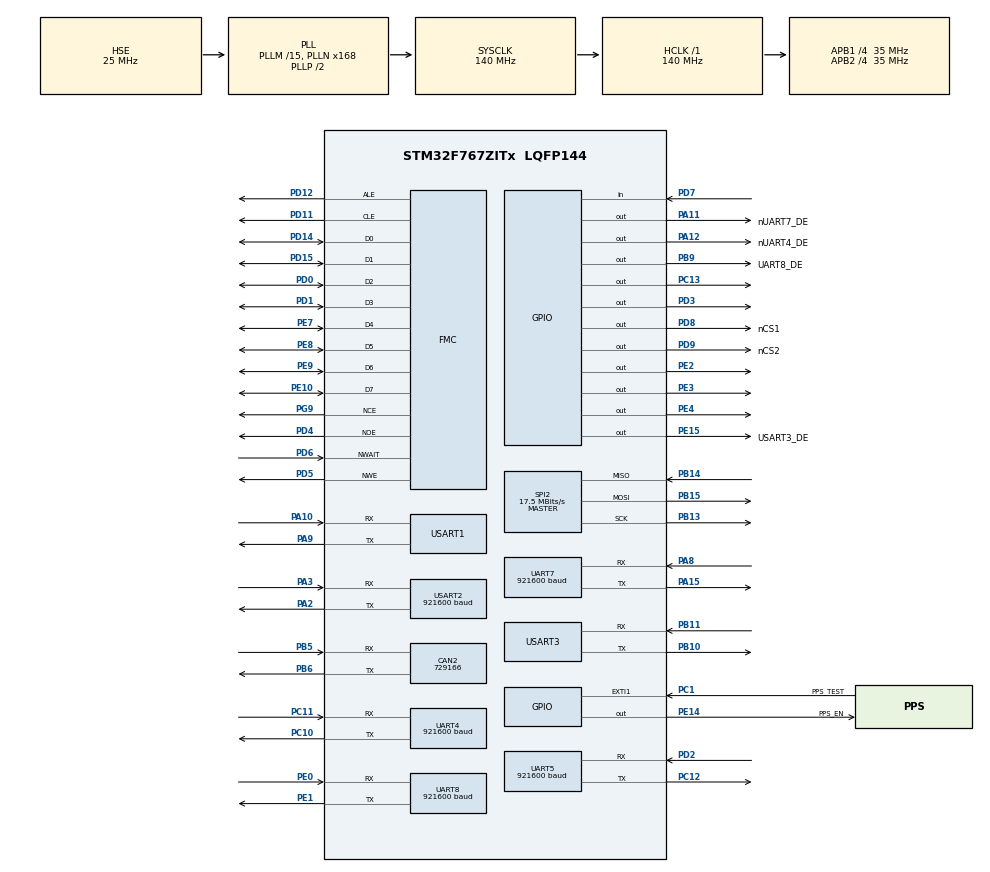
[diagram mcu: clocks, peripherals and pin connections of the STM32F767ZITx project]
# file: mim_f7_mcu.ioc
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CAN2.BS1=CAN_BS1_1TQ
CAN2.BS2=CAN_BS2_1TQ
CAN2.CalculateBaudRate=729166
CAN2.CalculateTimeBit=1371
CAN2.CalculateTimeQuantum=457.14285714285717
CORTEX_M7.MPU_Control=__NULL
CORTEX_M7.default_mode_Activation=1
Dma.Request0=UART8_TX
Dma.Request1=UART7_TX
Dma.Request2=UART4_TX
Dma.Request3=UART5_TX
Dma.UART4_TX.2.Direction=DMA_MEMORY_TO_PERIPH
Dma.UART4_TX.2.FIFOMode=DMA_FIFOMODE_DISABLE
Dma.UART4_TX.2.Instance=DMA1_Stream4
Dma.UART4_TX.2.MemDataAlignment=DMA_MDATAALIGN_BYTE
Dma.UART4_TX.2.MemInc=DMA_MINC_ENABLE
Dma.UART4_TX.2.Mode=DMA_NORMAL
Dma.UART4_TX.2.PeriphDataAlignment=DMA_PDATAALIGN_BYTE
Dma.UART4_TX.2.PeriphInc=DMA_PINC_DISABLE
Dma.UART4_TX.2.Priority=DMA_PRIORITY_VERY_HIGH
Dma.UART5_TX.3.Direction=DMA_MEMORY_TO_PERIPH
Dma.UART5_TX.3.FIFOMode=DMA_FIFOMODE_DISABLE
Dma.UART5_TX.3.Instance=DMA1_Stream7
Dma.UART5_TX.3.MemDataAlignment=DMA_MDATAALIGN_BYTE
Dma.UART5_TX.3.MemInc=DMA_MINC_ENABLE
Dma.UART5_TX.3.Mode=DMA_NORMAL
Dma.UART5_TX.3.PeriphDataAlignment=DMA_PDATAALIGN_BYTE
Dma.UART5_TX.3.PeriphInc=DMA_PINC_DISABLE
Dma.UART5_TX.3.Priority=DMA_PRIORITY_VERY_HIGH
Dma.UART7_TX.1.Direction=DMA_MEMORY_TO_PERIPH
Dma.UART7_TX.1.FIFOMode=DMA_FIFOMODE_DISABLE
Dma.UART7_TX.1.Instance=DMA1_Stream1
Dma.UART7_TX.1.MemDataAlignment=DMA_MDATAALIGN_BYTE
Dma.UART7_TX.1.MemInc=DMA_MINC_ENABLE
Dma.UART7_TX.1.Mode=DMA_NORMAL
Dma.UART7_TX.1.PeriphDataAlignment=DMA_PDATAALIGN_BYTE
Dma.UART7_TX.1.PeriphInc=DMA_PINC_DISABLE
Dma.UART7_TX.1.Priority=DMA_PRIORITY_VERY_HIGH
Dma.UART8_TX.0.Direction=DMA_MEMORY_TO_PERIPH
Dma.UART8_TX.0.FIFOMode=DMA_FIFOMODE_DISABLE
Dma.UART8_TX.0.Instance=DMA1_Stream0
Dma.UART8_TX.0.MemDataAlignment=DMA_MDATAALIGN_BYTE
Dma.UART8_TX.0.MemInc=DMA_MINC_ENABLE
Dma.UART8_TX.0.Mode=DMA_NORMAL
Dma.UART8_TX.0.PeriphDataAlignment=DMA_PDATAALIGN_BYTE
Dma.UART8_TX.0.PeriphInc=DMA_PINC_DISABLE
Dma.UART8_TX.0.Priority=DMA_PRIORITY_VERY_HIGH
FMC.AttributeSpaceHiZSetupTime1=3
FMC.AttributeSpaceHoldSetupTime1=4
FMC.AttributeSpaceSetupTime1=2
FMC.AttributeSpaceWaitSetupTime1=2
FMC.CommonSpaceHiZSetupTime1=4
FMC.CommonSpaceHoldSetupTime1=4
FMC.CommonSpaceSetupTime1=2
FMC.CommonSpaceWaitSetupTime1=2
FMC.ECCPageSize1=FMC_NAND_ECC_PAGE_SIZE_1024BYTE
FMC.NandBlockNbr1=2076
FMC.NandBlockSize1=128
FMC.NandExtraCommandEnable1=ENABLE
FMC.NandPageSize1=8192
FMC.NandPlaneNbr1=1
FMC.NandPlaneSize1=2076
FMC.NandSpareAreaSize1=436
FMC.TARSetupTime1=1
FMC.TCLRSetupTime1=1
IWDG.Prescaler=IWDG_PRESCALER_32
Mcu.Family=STM32F7
Mcu.Name=STM32F767ZITx
Mcu.Package=LQFP144
NVIC.DMA1_Stream0_IRQn=true\:1\:0\:true\:false\:true\:false\:true\:true
NVIC.DMA1_Stream1_IRQn=true\:1\:0\:true\:false\:true\:false\:true\:true
NVIC.DMA1_Stream4_IRQn=true\:1\:0\:true\:false\:true\:false\:true\:true
NVIC.DMA1_Stream7_IRQn=true\:0\:0\:false\:false\:true\:false\:true\:true
NVIC.EXTI1_IRQn=true\:0\:0\:false\:false\:true\:true\:true\:true
NVIC.PriorityGroup=NVIC_PRIORITYGROUP_4
NVIC.SPI2_IRQn=true\:0\:0\:false\:false\:true\:true\:true\:true
NVIC.TIM1_BRK_TIM9_IRQn=true\:0\:0\:false\:false\:true\:true\:true\:true
NVIC.TIM2_IRQn=true\:0\:0\:false\:false\:true\:true\:true\:true
NVIC.TIM3_IRQn=true\:2\:0\:true\:false\:true\:true\:true\:true
NVIC.TIM4_IRQn=true\:2\:0\:true\:false\:true\:true\:true\:true
NVIC.TIM5_IRQn=true\:0\:0\:false\:false\:true\:true\:true\:true
NVIC.TIM7_IRQn=true\:3\:0\:true\:false\:true\:true\:true\:true
NVIC.UART4_IRQn=true\:0\:0\:false\:false\:true\:true\:true\:true
NVIC.UART5_IRQn=true\:0\:0\:false\:false\:true\:true\:true\:true
NVIC.UART7_IRQn=true\:0\:0\:false\:false\:true\:true\:true\:true
NVIC.UART8_IRQn=true\:0\:0\:false\:false\:true\:true\:true\:true
NVIC.USART1_IRQn=true\:0\:0\:false\:false\:true\:true\:true\:true
PA10.Mode=Asynchronous
PA10.Signal=USART1_RX
PA11.GPIO_Label=nUART7_DE
PA11.Signal=GPIO_Output
PA12.GPIO_Label=nUART4_DE
PA12.Signal=GPIO_Output
PA13.Mode=Trace_Asynchronous_SW
PA13.Signal=SYS_JTMS-SWDIO
PA14.Mode=Trace_Asynchronous_SW
PA14.Signal=SYS_JTCK-SWCLK
PA15.GPIO_PuPd=GPIO_PULLUP
PA15.Mode=Asynchronous
PA15.Signal=UART7_TX
PA2.GPIO_PuPd=GPIO_PULLUP
PA2.Mode=Asynchronous
PA2.Signal=USART2_TX
PA3.GPIO_PuPd=GPIO_PULLUP
PA3.Mode=Asynchronous
PA3.Signal=USART2_RX
PA8.GPIO_PuPd=GPIO_PULLUP
PA8.Mode=Asynchronous
PA8.Signal=UART7_RX
PA9.GPIO_PuPd=GPIO_PULLUP
PA9.Mode=Asynchronous
PA9.Signal=USART1_TX
PB10.Mode=Asynchronous
PB10.Signal=USART3_TX
PB11.Mode=Asynchronous
PB11.Signal=USART3_RX
PB13.Mode=Full_Duplex_Master
PB13.Signal=SPI2_SCK
PB14.Mode=Full_Duplex_Master
PB14.Signal=SPI2_MISO
PB15.Mode=Full_Duplex_Master
PB15.Signal=SPI2_MOSI
PB3.Mode=Trace_Asynchronous_SW
PB3.Signal=SYS_JTDO-SWO
PB5.Mode=CAN_Activate
PB5.Signal=CAN2_RX
PB6.Mode=CAN_Activate
PB6.Signal=CAN2_TX
PB9.GPIO_Label=UART8_DE
PB9.Signal=GPIO_Output
PC1.GPIO_Label=PPS_TEST
PC1.GPIO_PuPd=GPIO_NOPULL
PC1.Signal=GPXTI1
PC10.GPIO_PuPd=GPIO_PULLUP
PC10.Mode=Asynchronous
PC10.Signal=UART4_TX
PC11.GPIO_PuPd=GPIO_PULLUP
PC11.Mode=Asynchronous
PC11.Signal=UART4_RX
PC12.Mode=Asynchronous
PC12.Signal=UART5_TX
PC13.Signal=GPIO_Output
PC14/OSC32_IN.Mode=LSE-External-Oscillator
PC14/OSC32_IN.Signal=RCC_OSC32_IN
PC15/OSC32_OUT.Mode=LSE-External-Oscillator
PC15/OSC32_OUT.Signal=RCC_OSC32_OUT
PD0.Signal=FMC_D2_DA2
PD1.Signal=FMC_D3_DA3
PD11.Signal=FMC_A16_CLE
PD12.Signal=FMC_A17_ALE
PD14.Signal=FMC_D0_DA0
PD15.Signal=FMC_D1_DA1
PD2.Mode=Asynchronous
PD2.Signal=UART5_RX
PD3.Signal=GPIO_Output
PD4.Signal=FMC_NOE
PD5.Signal=FMC_NWE
PD6.Signal=FMC_NWAIT
PD7.Signal=GPIO_Input
PD8.GPIO_Label=nCS1
PD8.Signal=GPIO_Output
PD9.GPIO_Label=nCS2
PD9.Signal=GPIO_Output
PE0.GPIO_PuPd=GPIO_PULLUP
PE0.Mode=Asynchronous
PE0.Signal=UART8_RX
PE1.GPIO_PuPd=GPIO_PULLUP
PE1.Mode=Asynchronous
PE1.Signal=UART8_TX
PE10.Signal=FMC_D7_DA7
PE14.GPIO_Label=PPS_EN
PE14.Signal=GPIO_Output
PE15.GPIO_Label=USART3_DE
PE15.Signal=GPIO_Output
PE2.Signal=GPIO_Output
PE3.Signal=GPIO_Output
PE4.Signal=GPIO_Output
PE7.Signal=FMC_D4_DA4
PE8.Signal=FMC_D5_DA5
PE9.Signal=FMC_D6_DA6
PG9.Mode=NandChipSelect3_1
PG9.Signal=FMC_NCE
PH0/OSC_IN.Mode=HSE-External-Oscillator
PH0/OSC_IN.Signal=RCC_OSC_IN
PH1/OSC_OUT.Mode=HSE-External-Oscillator
PH1/OSC_OUT.Signal=RCC_OSC_OUT
ProjectManager.HeapSize=0x200
ProjectManager.StackSize=0x400
ProjectManager.TargetToolchain=MDK-ARM V5.32
RCC.AHBFreq_Value=140000000
RCC.APB1CLKDivider=RCC_HCLK_DIV4
RCC.APB1Freq_Value=35000000
RCC.APB1TimFreq_Value=70000000
RCC.APB2CLKDivider=RCC_HCLK_DIV4
RCC.APB2Freq_Value=35000000
RCC.APB2TimFreq_Value=70000000
RCC.CortexFreq_Value=17500000
RCC.Cortex_Div=SYSTICK_CLKSOURCE_HCLK_DIV8
RCC.HCLKFreq_Value=140000000
RCC.HSE_Timout=100
RCC.HSE_VALUE=25000000
RCC.HSI_VALUE=16000000
RCC.LSE_Drive_Capability=RCC_LSEDRIVE_HIGH
RCC.LSE_Timout=500000
RCC.PLLM=15
RCC.PLLN=168
RCC.PLLSourceVirtual=RCC_PLLSOURCE_HSE
RCC.RTCClockSelection=RCC_RTCCLKSOURCE_LSE
RCC.SYSCLKFreq_VALUE=140000000
RCC.SYSCLKSource=RCC_SYSCLKSOURCE_PLLCLK
RCC.USBFreq_Value=140000000
RCC.VCOOutputFreq_Value=280000000
SH.FMC_A16_CLE.0=FMC_CLE,8b-dmux1
SH.FMC_A17_ALE.0=FMC_ALE,8b-dmux1
SH.FMC_D0_DA0.0=FMC_D0,8b-dmux1
SH.FMC_D1_DA1.0=FMC_D1,8b-dmux1
SH.FMC_D2_DA2.0=FMC_D2,8b-dmux1
SH.FMC_D3_DA3.0=FMC_D3,8b-dmux1
SH.FMC_D4_DA4.0=FMC_D4,8b-dmux1
SH.FMC_D5_DA5.0=FMC_D5,8b-dmux1
SH.FMC_D6_DA6.0=FMC_D6,8b-dmux1
SH.FMC_D7_DA7.0=FMC_D7,8b-dmux1
SH.FMC_NOE.0=FMC_NOE,8b-dmux1
SH.FMC_NWAIT.0=FMC_NWAIT,Wait1
SH.FMC_NWE.0=FMC_NWE,8b-dmux1
SPI2.BaudRatePrescaler=SPI_BAUDRATEPRESCALER_2
SPI2.CLKPhase=SPI_PHASE_2EDGE
SPI2.CLKPolarity=SPI_POLARITY_HIGH
SPI2.CalculateBaudRate=17.5 MBits/s
SPI2.DataSize=SPI_DATASIZE_8BIT
SPI2.Direction=SPI_DIRECTION_2LINES
SPI2.Mode=SPI_MODE_MASTER
SPI2.VirtualType=VM_MASTER
TIM2.Period=10
TIM2.Prescaler=699
TIM3.Period=10
TIM3.Prescaler=699
TIM4.Period=10
TIM4.Prescaler=699
TIM5.Period=10
TIM5.Prescaler=699
TIM7.AutoReloadPreload=TIM_AUTORELOAD_PRELOAD_ENABLE
TIM7.Period=99
TIM7.Prescaler=69
TIM9.AutoReloadPreload=TIM_AUTORELOAD_PRELOAD_ENABLE
TIM9.Period=19999
TIM9.Prescaler=69
UART4.BaudRate=921600
UART4.OverSampling=UART_OVERSAMPLING_8
UART4.Parity=PARITY_EVEN
UART4.WordLength=WORDLENGTH_9B
UART5.BaudRate=921600
UART5.OverSampling=UART_OVERSAMPLING_8
UART5.Parity=PARITY_EVEN
UART5.WordLength=WORDLENGTH_9B
UART7.BaudRate=921600
UART7.OverSampling=UART_OVERSAMPLING_8
UART7.Parity=PARITY_EVEN
UART7.WordLength=WORDLENGTH_9B
UART8.BaudRate=921600
UART8.OverSampling=UART_OVERSAMPLING_8
UART8.Parity=PARITY_EVEN
UART8.WordLength=WORDLENGTH_9B
USART1.Parity=PARITY_EVEN
USART1.VirtualMode-Asynchronous=VM_ASYNC
USART1.WordLength=WORDLENGTH_9B
USART2.BaudRate=921600
USART2.VirtualMode-Asynchronous=VM_ASYNC
USART3.VirtualMode-Asynchronous=VM_ASYNC
VP_IWDG_VS_IWDG.Mode=IWDG_Activate
VP_RTC_VS_RTC_Activate.Mode=RTC_Enabled
VP_TIM2_VS_ClockSourceINT.Mode=Internal
VP_TIM3_VS_ClockSourceINT.Mode=Internal
VP_TIM4_VS_ClockSourceINT.Mode=Internal
VP_TIM5_VS_ClockSourceINT.Mode=Internal
VP_TIM7_VS_ClockSourceINT.Mode=Enable_Timer
VP_TIM9_VS_ClockSourceINT.Mode=Internal
VP_TIM9_VS_OPM.Mode=OPM_bit
board=custom

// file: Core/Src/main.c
/* USER CODE BEGIN Header */
/**
  ******************************************************************************
  * @file           : main.c
  * @brief          : Main program body
  ******************************************************************************
  * @attention
  *
  * Copyright (c) 2024 STMicroelectronics.
  * All rights reserved.
  *
  * This software is licensed under terms that can be found in the LICENSE file
  * in the root directory of this software component.
  * If no LICENSE file comes with this software, it is provided AS-IS.
  *
  ******************************************************************************
  */
/* USER CODE END Header */
#include "main.h"
#include "can.h"
#include "dma.h"
#include "iwdg.h"
#include "rtc.h"
#include "spi.h"
#include "tim.h"
#include "usart.h"
#include "gpio.h"
#include "fmc.h"

/* USER CODE BEGIN Includes */
#include "debug.h"
#include "clock.h"
#include "sys_uart.h"
#include "pwr.h"
#include "mim.h"
#include "radio.h"
#include "task_planner.h"
#include "mim_rs485_tr_lvl_data_map.h"
#include "canvar.h"
#include "nand.h"
#include "experiment.h"
#include "ext_mem.h"
/* USER CODE END Includes */

/* USER CODE BEGIN PD */

uint8_t* dev_id_ptr = (uint8_t*)0x8000024;
char *raw_ver = (char*)0x8000025;
char version[16] = {0};
uint8_t dev_id = 0;
volatile uint8_t systick_counter = 0;

// #define SOFT_VERSION 	 ../aa_lib/fw_ver.inc
#define IOT_FABR_NUM    (4)       //! 0 - отработочный

/* USER CODE END PD */

/* USER CODE BEGIN PV */
typeTPStruct tp;		//! обязательный объект планировщика задач
type_MIM_DEVICE mim;
type_MIM_INF_ID_DATA mim_data;
type_SysUART suart;
type_PWR_CONTROL pwr;
type_NAND nand;
type_EXPERIMENT_CORE ex;
//
extern typeRegistrationRec LocRegistrationRec[28];
extern uint8_t CANMasterRx[8];
//
type_RADIO radio[MIM_MODULE_NUM - 1]; //TODO: проверять количество радиомодудей, если появится больше, чем один не радиомодуль
typeFT ft[FT_NUM]; //WARNING: необходимо проверять число используемых полетных заданий, согласовывать их с используемой памятью

uint8_t uint8_array[1024]={0};
int16_t int16_val = 0;
uint16_t uint16_val = 0, uint16_val_2 = 0;
int32_t id_val = 0;
uint8_t uint8_val = 0, cfg[16] = {0}, ft_cnt=0;
typeFTArray task_var;
typeSingleFrameStruct frame_1, frame_2;
//
type_MIM_INF_ID_TX_DATA_WR tx_frame;
type_MIM_INF_ID_TX_CFG tx_cfg;
type_MIM_INF_ID_CFG_REQ cfg_req;
type_MIM_INF_ID_RX_CFG rx_cfg;
type_MIM_CMD_STRUCT cmd_stuct;
type_MIM_EXP_CMD_STRUCT exp_cmd_stuct;
type_MIM_INF_ID_RX_DATA rx_packet;
type_MEM_CONTROL mem;
/* USER CODE END PV */

void SystemClock_Config(void);

int main(void)
{

  /* USER CODE BEGIN 1 */
  uint8_t i=0;
  uint8_t num = 0;
  uint8_t cmd_num = 0;
  int8_t status = 0;
  /* USER CODE END 1 */

  /* MCU Configuration--------------------------------------------------------*/

  /* Reset of all peripherals, Initializes the Flash interface and the Systick. */
  HAL_Init();

  /* Configure the system clock */
  SystemClock_Config();

  /* Initialize all configured peripherals */
  MX_GPIO_Init();
  MX_DMA_Init();
  MX_CAN2_Init();
  MX_FMC_Init();
  MX_TIM3_Init();
  MX_TIM4_Init();
  MX_TIM7_Init();
  MX_TIM9_Init();
  MX_UART5_Init();
  MX_UART8_Init();
  MX_UART7_Init();
  MX_UART4_Init();
  MX_USART2_UART_Init();
  MX_SPI2_Init();
  MX_USART3_UART_Init();
  MX_TIM2_Init();
  MX_TIM5_Init();
  MX_USART1_UART_Init();
  MX_RTC_Init();
  MX_IWDG_Init();
  /* USER CODE BEGIN 2 */
  __HAL_DBGMCU_FREEZE_IWDG();
  //
	HAL_Delay(1);
  sprintf(version, "%c.%c.%c", raw_ver[0], raw_ver[1], raw_ver[2]);
	dev_id = *dev_id_ptr - '0';
	//

  printf("\nSW v%s\n", version);
	printf("\n______ \\_(o_O)_/ ______\n");
  clock_init();
	printf("%s: Clock init\n", now());
	HAL_Delay(100);
  printf("%s: Clock after 100 ms delay\n", now());
	printf("%s: Marafon Interface Module (MIM): dev_id <%d>, version <%s> \n", now(), dev_id, version);
  // flight task init
  ft_cnt = 0; uint8_val = 0;
  for (i = 0; i < FT_NUM; i++) {
    ft_cnt += ft_init(&ft[i], i, 0x00, 0x00);
  }
  printf("%s: Flight task init: <%d> (%d - OK), loaded <%d>\n", now(), ft_cnt, (int)FT_NUM, uint8_val);
  // main module init
  suart_init(&suart, &huart1, &htim9);
  pwr_init(&pwr, &suart);
  // инициализация памяти
  ext_mem_init(&mem, &hspi2, IOT_FABR_NUM, 0x0F);
  ext_mem_get_cfg_frame(&mem, EXT_MEM_SELF_CFG_FRAME_1_NUM, &frame_1);
  ext_mem_part_apply_cfg(&mem, frame_1);
  // инициализация NAND
  nand_init(&nand);
  ex_init(&ex, &nand, MIM, IOT_FABR_NUM, dev_id);
  mim_init(&mim, MIM, version, &pwr, IOT_FABR_NUM, dev_id, radio, &ex);
	printf("%s: Flight task init: <%d> (%d - OK), loaded <%d>\n", now(), ft_cnt, (int)FT_NUM, uint8_val);
  mim_tr_inf_init(&mim_data);
  mim_tr_init(&mim.tr_lvl[0], &huart7, UART7_IRQn, GPIOA, 11, GPIOA, 11, &htim4, &mim_data, 1);  // DE - инвертировано
  mim_tr_init(&mim.tr_lvl[1], &huart8, UART8_IRQn, GPIOB, 9, GPIOB, 9, &htim3, &mim_data, 0);  // DE - не инвертировано
  // mim_tr_init(&mim.tr_lvl[2], &huart4, UART4_IRQn, GPIOA, 12, GPIOA, 12, &htim5, &mim_data, 1);  // DE - инвертировано
  // mim_tr_init(&mim.tr_lvl[3], &huart5, UART5_IRQn, GPIOD, 3, GPIOD, 3, &htim2, &mim_data, 0);    // DE - не инвертировано //TODO: Добавить обработку остальных каналов UART
  //
  LocRegistrationRec[0].VarPtr = &CANMasterRx;
  LocRegistrationRec[0].VarLeng = sizeof(CANMasterRx);
  LocRegistrationRec[0].CallBackProc = NULL;
  LocRegistrationRec[0].ivar_id = 0;
  LocRegistrationRec[0].access_flgs =  CAN_AFLG_NOOFFSET | CAN_AFLG_MASTER | CAN_AFLG_NOACK;

  CANVar_Init(MIM + 1, LocRegistrationRec, 28);
  //
  for(uint8_t dev = 1; dev<MIM_MODULE_NUM; dev++){
    radio_init(&radio[dev-1], dev, &pwr.ch[dev], dev+1);
  }
  // test_init temporary
  //
  tp_init(&tp);
  // заполнение процессов
  tp_process_registration(&tp, &mim_process_tp, &mim, 0, TP_SHARED_MEM_VOL_B);
  for(uint8_t radio_num=1; radio_num < MIM_MODULE_NUM; radio_num++){
    tp_process_registration(&tp, &radio_process_tp, &radio[radio_num-1], radio_num*512, 512);
  }
  tp_process_registration(&tp, &pwr_process_tp, &pwr, 0, 0);
  //
  HAL_TIM_Base_Start_IT(&htim7); //task_planner
  /* USER CODE END 2 */

  /* Infinite loop */
  /* USER CODE BEGIN WHILE */
  while (1)
  {
		HAL_GPIO_WritePin(GPIOC, 1<<15, GPIO_PIN_SET);
    tp_handler(&tp);
		HAL_GPIO_WritePin(GPIOC, 1<<15, GPIO_PIN_RESET);

    /* USER CODE END WHILE */

    /* USER CODE BEGIN 3 */
    for (num = 0; num < 2; num++){
      id_val = mim_tr_get_processed_cmd_id(&mim.tr_lvl[num]);
			cmd_num = mim.tr_lvl[num].data_map->id_map[id_val];
      if (id_val >= 0){
        HAL_GPIO_WritePin(GPIOC, 1<<13, GPIO_PIN_SET);
        //
        switch (id_val){
          case MIM_INF_ID_SET_TIME:
            clock_set_time_s_and_ms(*(uint32_t*)&mim.tr_lvl[num].data_map->unit[cmd_num].data.fields.array[0],
                                    *(uint16_t*)&mim.tr_lvl[num].data_map->unit[cmd_num].data.fields.array[4]);
            printf("%s: MIM cmd %d set_time: sec %08X part %02X\n", now(), (int)id_val,
                                                              *(uint32_t*)&mim.tr_lvl[num].data_map->unit[cmd_num].data.fields.array[0],
                                                              *(uint16_t*)&mim.tr_lvl[num].data_map->unit[cmd_num].data.fields.array[4]);
            break;
          case MIM_INF_ID_SET_SETTINGS:
            memcpy((uint8_t*)cmd_stuct.array, (uint8_t*)&mim.tr_lvl[num].data_map->unit[cmd_num].data.fields.array[0], 16);
            if(cmd_stuct.fl.label == 0xABBC){
              switch(cmd_stuct.fl.cmd_num){
                case MIM_CMD_MODE:
                  switch(*(uint16_t*)&cmd_stuct.fl.data[0])
                  {
                    case MIM_MODE_TRANSCEIVER:
                      mim.ctrl.mode = MIM_MODE_TRANSCEIVER;
                      mim_set_interval_value(&mim, MIM_INTERVAL_EXPERIMENT, 1.0);
                      break;
                    case MIM_MODE_EXPERIMENT:
                      mim.ctrl.mode = MIM_MODE_EXPERIMENT;
                      break;
                  }
                  break;
                case MIM_CMD_PWR_STATE:
                  mim.pwr_ptr->ch_state = *(uint16_t*)&cmd_stuct.fl.data[0];
                  break;
                case MIM_CMD_SET_DEFAULT:
                  if((*(uint16_t*)&cmd_stuct.fl.data[0] >= 1) && (*(uint16_t*)&cmd_stuct.fl.data[0] < MIM_MODULE_NUM)){
                    radio_rx_send_cmd(&radio[*(uint16_t*)&cmd_stuct.fl.data[0] - 1], CMD_RX_SETPARAMS);
                  }
                  else mim_error_collector(&mim, MIM_ERROR_CMD_PARAM, MIM_ERROR_TYPE_SET);
                  break;
                case MIM_CMD_RESET_STATE:
                  mim_reset_state(&mim);
                  for (uint8_t module_num = 1; module_num < MIM_MODULE_NUM; module_num++){
                    radio_status_reset(&radio[module_num - 1]);
                  }
                  break;
              }
            }
            else mim_error_collector(&mim, MIM_ERROR_CMD_PARAM, MIM_ERROR_TYPE_SET);
            printf("%s: MIM cmd <%d> set settings: label <0x%04X> num <%d>\n", now(),  id_val,
                                                                            cmd_stuct.fl.label,
                                                                            cmd_stuct.fl.cmd_num);
            break;
          //
          case MIM_INF_ID_SET_EXP_SETTINGS:
            memcpy((uint8_t*)exp_cmd_stuct.array, (uint8_t*)&mim.tr_lvl[num].data_map->unit[cmd_num].data.fields.array[0], sizeof(type_MIM_EXP_CMD_STRUCT));
            //
            mem_tr_inf_receive_id_data(mim.tr_lvl[0].data_map, MIM_INF_ID_READ_EXP_SETTINGS, (uint8_t*)&mim.tr_lvl[num].data_map->unit[cmd_num].data.fields.array[0], sizeof(type_MIM_EXP_CMD_STRUCT));
            //
            if(exp_cmd_stuct.fl.label == 0xABCD){
              switch(exp_cmd_stuct.fl.cmd_num){
                case MIM_EXCMD_SETTINGS:
                  memcpy((uint8_t*)&ex.shadow_param, (uint8_t*)exp_cmd_stuct.fl.data, sizeof(type_EX_Param));
                  break;
                case MIM_EXCMD_SET_TX_DATA:
                  ex_set_tx_msg(&ex, exp_cmd_stuct.fl.data[0], (uint8_t*)&exp_cmd_stuct.fl.data[1]);
                  break;
                case MIM_EXCMD_GPOSITION:
                  memcpy((uint8_t*)ex.position_data, (uint8_t*)exp_cmd_stuct.fl.data, MIN(sizeof(ex.position_data), sizeof(ex.position_data)));
                  break;
                case MIM_EXCMD_CLEAR_MSG_BUFFER:
                  memset((uint8_t*)&ex.tx_msg_buffer, 0x00, sizeof(type_RADIO_EX_TX_MSG_BUFFER));
                  break;
              }
            }
            else mim_error_collector(&mim, MIM_ERROR_EXCMD_PARAM, MIM_ERROR_TYPE_SET);
            printf("%s: MIM excmd <%d> set settings: label <0x%04X> num <%d>\n", now(),  id_val,
                                                                            exp_cmd_stuct.fl.label,
                                                                            exp_cmd_stuct.fl.cmd_num);
            break;
          //
          case MIM_INF_ID_TX_CFG_REQ:
          case MIM_INF_ID_S_TX_CFG_REQ:
            if(mim.ctrl.mode == MIM_MODE_TRANSCEIVER){
              memcpy((uint8_t*)&cfg_req, mim.tr_lvl[num].data_map->unit[cmd_num].data.array, sizeof(type_MIM_INF_ID_CFG_REQ));
              printf("%s: MIM cmd <%d> tx cfg resp: module <%d>\n", now(), id_val, cfg_req.fl.module);
              if ((cfg_req.fl.packet_type == 0x01) || (cfg_req.fl.packet_type == 0x21)) {
                if ((cfg_req.fl.module < MIM_MODULE_NUM) && (cfg_req.fl.module >= 1)){
                  if (radio_tx_get_settings(&radio[cfg_req.fl.module - 1]) == 0){
                    tx_cfg.fl.id = id_val + 1;
                    tx_cfg.fl.packet_type = (cfg_req.fl.packet_type == 0x01) ? 0x02 : 0x22;
                    tx_cfg.fl.packet_size = 31;
                    tx_cfg.fl.module = cfg_req.fl.module;
                    memset(tx_cfg.fl.reserve, 0, sizeof(tx_cfg.fl.reserve));
                    tx_cfg.fl.tx_frame = radio[cfg_req.fl.module - 1].tx_ctrl.IVarTxSet_rd;
                    mem_tr_inf_receive_id_data(mim.tr_lvl[0].data_map, id_val+1, tx_cfg.tr_lvl.array, 31);
                  }
                }
                else mim_error_collector(&mim, MIM_ERROR_CMD_PARAM, MIM_ERROR_TYPE_SET);
              }
              else mim_error_collector(&mim, MIM_ERROR_CMD_PARAM, MIM_ERROR_TYPE_SET);
            }
            else{mim_error_collector(&mim, MIM_ERROR_CMD_PARAM, MIM_ERROR_TYPE_SET);};
            break;
          case MIM_INF_ID_TX_DATA_WR:
          case MIM_INF_ID_S_TX_DATA_WR:
            if(mim.ctrl.mode == MIM_MODE_TRANSCEIVER){
              memcpy((uint8_t*)&tx_frame, mim.tr_lvl[num].data_map->unit[cmd_num].data.array, sizeof(type_MIM_INF_ID_TX_DATA_WR));
              if((tx_frame.fl.packet_type == 0x03) || (tx_frame.fl.packet_type == 0x23)) {
                if ((tx_frame.fl.module >= 1) && (tx_frame.fl.module < MIM_MODULE_NUM)){
                  status = radio_write_tx_fifo(&radio[tx_frame.fl.module - 1], &tx_frame.fl.tx_frame);
                  if (status > 0) { mim.tx_total_cnt++; }
                  else if (status < 0) { mim.tx_lost_cnt++; }
                  else {}
                }
                else mim_error_collector(&mim, MIM_ERROR_CMD_PARAM, MIM_ERROR_TYPE_SET);
              }
              else mim_error_collector(&mim, MIM_ERROR_CMD_PARAM, MIM_ERROR_TYPE_SET);
              printf("%s: MIM cmd %d send data to ASP: module %04X\n", now(), id_val, tx_frame.fl.module);
            }
            else{mim_error_collector(&mim, MIM_ERROR_CMD_PARAM, MIM_ERROR_TYPE_SET);};
            break;
          case MIM_INF_ID_RX_CFG_REQ:
            memcpy((uint8_t*)&cfg_req, mim.tr_lvl[num].data_map->unit[cmd_num].data.array, sizeof(type_MIM_INF_ID_CFG_REQ));
            printf("%s: MIM cmd <%d> rx cfg resp: module <%d>\n", now(), id_val, cfg_req.fl.module);
            if (cfg_req.fl.packet_type == 0x11) {
              if ((cfg_req.fl.module < MIM_MODULE_NUM) && (cfg_req.fl.module >= 1)){
                if (radio_rx_get_settings(&radio[cfg_req.fl.module - 1]) == 0){
                  rx_cfg.fl.id = 20;
                  rx_cfg.fl.packet_type = 0x12;
                  rx_cfg.fl.packet_size = 326;
                  rx_cfg.fl.module = cfg_req.fl.module;
                  rx_cfg.fl.reserve = 0;
                  for (int k=0; k<4; k++) rx_cfg.fl.rx_set[k] = radio[cfg_req.fl.module - 1].rx_ctrl.IVarRxSet_rd[k];
                  mem_tr_inf_receive_id_data(mim.tr_lvl[0].data_map, MIM_INF_ID_RX_CFG_RD, rx_cfg.tr_lvl.array, sizeof(rx_cfg.tr_lvl.array));
                }
              }
              else mim_error_collector(&mim, MIM_ERROR_CMD_PARAM, MIM_ERROR_TYPE_SET);
            }
            else mim_error_collector(&mim, MIM_ERROR_CMD_PARAM, MIM_ERROR_TYPE_SET);
            break;
          case MIM_INF_ID_RX_CFG_WR:
            memcpy((uint8_t*)&rx_cfg, mim.tr_lvl[num].data_map->unit[cmd_num].data.array, sizeof(type_MIM_INF_ID_RX_CFG));
            printf("%s: MIM cmd <%d> rx cfg wr: module <%d>\n", now(), id_val, cfg_req.fl.module);
            if (rx_cfg.fl.packet_type == 0x13) {
              if ((rx_cfg.fl.module < MIM_MODULE_NUM) && (rx_cfg.fl.module >= 1)){
                radio_rx_set_settings(&radio[rx_cfg.fl.module - 1], &rx_cfg.fl.rx_set[0]);
              }
              else mim_error_collector(&mim, MIM_ERROR_CMD_PARAM, MIM_ERROR_TYPE_SET);
            }
            else mim_error_collector(&mim, MIM_ERROR_CMD_PARAM, MIM_ERROR_TYPE_SET);
            break;
          case MIM_INF_ID_EXP_DATA_REQ:
            memcpy((uint8_t*)uint8_array, mim.tr_lvl[num].data_map->unit[cmd_num].data.fields.array, 6);
            if(*(uint16_t*)&uint8_array[0] == 0xABEF){
              nand_lin_read_block_set(ex.nand_ptr, *(uint32_t*)&uint8_array[2]);
              nand_lin_read_frame(ex.nand_ptr, ex.rx_nand_buffer);
              mem_tr_inf_receive_id_data(mim.tr_lvl[0].data_map, MIM_INF_ID_EXP_DATA_RD, ex.rx_nand_buffer, NAND_FRAME_SIZE);
            }
            break;
          case MIM_INF_ID_MFR_SEGM_DATA_WR:
            printf("%s: MIM cmd %d segm_data: redirect to ID-%d \n", now(), id_val, mim.tr_lvl[num].data_map->unit[cmd_num].data.fields.id);
						// перенаправление данных на нужный ID как команду
            if (mim_tr_redirect_segm_data_cmd(&mim.tr_lvl[num])) {}
            else mim_error_collector(&mim, MIM_ERROR_CMD_PARAM, MIM_ERROR_TYPE_SET);
          break;
        }
        HAL_GPIO_WritePin(GPIOC, 1<<13, GPIO_PIN_RESET);
        //
      }
      id_val = mim_tr_get_processed_data_id(&mim.tr_lvl[num]);
			cmd_num = mim.tr_lvl[num].data_map->id_map[id_val];
      if (id_val >= 0){
        HAL_GPIO_WritePin(GPIOC, 1<<13, GPIO_PIN_SET);
        //
        switch (id_val){
            case MIM_INF_ID_RX_DATA_RD:
							printf("%s: MIM data <%d> rx data read\n", now(), id_val);
              rx_packet.fl.packet_type = 0x14;
							if(mim_read_rx_fifo(&mim, &rx_packet)){
                rx_packet.fl.packet_size = 4 + rx_packet.fl.packet.tot_size;
							}
							else{
								rx_packet.fl.packet_size = 4;
							}
              mem_tr_inf_receive_id_data(mim.tr_lvl[0].data_map, MIM_INF_ID_RX_DATA_RD, (uint8_t*)&rx_packet.tr_lvl.array, rx_packet.fl.packet_size);
							break;
            case MIM_INF_ID_MFR_DATA_RD:
							printf("%s: MIM data <%d> mfr rx data read\n", now(), (int)id_val);
							mim_read_rx_fifo_and_form_mrf_packet(&mim, uint8_array);
              mem_tr_inf_receive_id_data(mim.tr_lvl[0].data_map, MIM_INF_ID_MFR_DATA_RD, uint8_array, 1014);
							break;
            case MIM_INF_ID_EXP_DATA_RD:
							printf("%s: EXP data <%d>\n", now(), (int)id_val);
              nand_lin_read_frame(ex.nand_ptr, ex.rx_nand_buffer);
              mem_tr_inf_receive_id_data(mim.tr_lvl[0].data_map, MIM_INF_ID_EXP_DATA_RD, ex.rx_nand_buffer, NAND_FRAME_SIZE);
							break;
        }
      //
      HAL_GPIO_WritePin(GPIOC, 1<<13, GPIO_PIN_RESET);
      }
    }
		HAL_IWDG_Refresh(&hiwdg);
  }
  /* USER CODE END 3 */
}

void SystemClock_Config(void)
{
  RCC_OscInitTypeDef RCC_OscInitStruct = {0};
  RCC_ClkInitTypeDef RCC_ClkInitStruct = {0};

  /** Configure LSE Drive Capability
  */
  HAL_PWR_EnableBkUpAccess();
  __HAL_RCC_LSEDRIVE_CONFIG(RCC_LSEDRIVE_HIGH);

  /** Configure the main internal regulator output voltage
  */
  __HAL_RCC_PWR_CLK_ENABLE();
  __HAL_PWR_VOLTAGESCALING_CONFIG(PWR_REGULATOR_VOLTAGE_SCALE3);

  /** Initializes the RCC Oscillators according to the specified parameters
  * in the RCC_OscInitTypeDef structure.
  */
  RCC_OscInitStruct.OscillatorType = RCC_OSCILLATORTYPE_LSI|RCC_OSCILLATORTYPE_HSE
                              |RCC_OSCILLATORTYPE_LSE;
  RCC_OscInitStruct.HSEState = RCC_HSE_ON;
  RCC_OscInitStruct.LSEState = RCC_LSE_ON;
  RCC_OscInitStruct.LSIState = RCC_LSI_ON;
  RCC_OscInitStruct.PLL.PLLState = RCC_PLL_ON;
  RCC_OscInitStruct.PLL.PLLSource = RCC_PLLSOURCE_HSE;
  RCC_OscInitStruct.PLL.PLLM = 15;
  RCC_OscInitStruct.PLL.PLLN = 168;
  RCC_OscInitStruct.PLL.PLLP = RCC_PLLP_DIV2;
  RCC_OscInitStruct.PLL.PLLQ = 2;
  RCC_OscInitStruct.PLL.PLLR = 2;
  if (HAL_RCC_OscConfig(&RCC_OscInitStruct) != HAL_OK)
  {
    Error_Handler();
  }

  /** Initializes the CPU, AHB and APB buses clocks
  */
  RCC_ClkInitStruct.ClockType = RCC_CLOCKTYPE_HCLK|RCC_CLOCKTYPE_SYSCLK
                              |RCC_CLOCKTYPE_PCLK1|RCC_CLOCKTYPE_PCLK2;
  RCC_ClkInitStruct.SYSCLKSource = RCC_SYSCLKSOURCE_PLLCLK;
  RCC_ClkInitStruct.AHBCLKDivider = RCC_SYSCLK_DIV1;
  RCC_ClkInitStruct.APB1CLKDivider = RCC_HCLK_DIV4;
  RCC_ClkInitStruct.APB2CLKDivider = RCC_HCLK_DIV4;

  if (HAL_RCC_ClockConfig(&RCC_ClkInitStruct, FLASH_LATENCY_4) != HAL_OK)
  {
    Error_Handler();
  }
}

/* USER CODE BEGIN 4 */

void HAL_SYSTICK_Callback(void)
{
	systick_counter++;
}

void HAL_UART_TxCpltCallback(UART_HandleTypeDef *huart)  //TODO: необходимо сделать восстановление работы второй линии по прерыванию UART IDLE, так как на этом прерывании возникает коллизия при передаче
{
  if(huart == &huart7){ //RS_485 channel МА1
		mim_tr_it_tx_cb(&mim.tr_lvl[0]);
    // mim_tr_ena_communication(&mim.tr_lvl[2]);
	}
  if(huart == &huart4){ //RS_485 channel МА2
		// mim_tr_it_tx_cb(&mim.tr_lvl[2]);
    // mim_tr_ena_communication(&mim.tr_lvl[0]);
	}
  if(huart == &huart8){ //RS_485 channel МФР1
		mim_tr_it_tx_cb(&mim.tr_lvl[1]);
    // mim_tr_ena_communication(&mim.tr_lvl[3]);
	}
  if(huart == &huart5){ //RS_485 channel МФР2
		// mim_tr_it_tx_cb(&mim.tr_lvl[3]);
    // // mim_tr_ena_communication(&mim.tr_lvl[1]);
	}
}

void HAL_UART_RxCpltCallback(UART_HandleTypeDef *huart)
{
  if(huart == &huart1){ //system uart
		suart_rx_irq_handler(&suart);
	}
  if(huart == &huart7){ //RS_485 channel МА1
		mim_tr_it_rx_uart_cb(&mim.tr_lvl[0]);
    mim_tr_inh_communication(&mim.tr_lvl[2]);
	}
  if(huart == &huart4){ //RS_485 channel МА2
		// mim_tr_it_rx_uart_cb(&mim.tr_lvl[2]);
    // mim_tr_inh_communication(&mim.tr_lvl[0]);
	}
  if(huart == &huart8){ //RS_485 channel МФР1
		mim_tr_it_rx_uart_cb(&mim.tr_lvl[1]);
    mim_tr_inh_communication(&mim.tr_lvl[3]);
	}
  if(huart == &huart5){ //RS_485 channel МФР2
		// mim_tr_it_rx_uart_cb(&mim.tr_lvl[3]);
    // mim_tr_inh_communication(&mim.tr_lvl[1]);
	}
}

void HAL_UART_ErrorCallback(UART_HandleTypeDef *huart)
{
  if(huart == &huart7){ //RS_485 channel МА1
		printf("%s: uart 7 error %d\n", now(), (int)HAL_UART_GetError(huart));
    mim_tr_it_rx_error_cb(&mim.tr_lvl[0]);
    // mim_tr_ena_communication(&mim.tr_lvl[0]);
	}
  if(huart == &huart4){ //RS_485 channel МА2
		// printf("%s: uart 4 error %d\n", now(), (int)HAL_UART_GetError(huart));
    // mim_tr_it_rx_error_cb(&mim.tr_lvl[2]);
    // // mim_tr_ena_communication(&mim.tr_lvl[2]);
	}
  if(huart == &huart8){ //RS_485 channel МФР1
		printf("%s: uart 8 error %d\n", now(), (int)HAL_UART_GetError(huart));
    mim_tr_it_rx_error_cb(&mim.tr_lvl[1]);
    // mim_tr_ena_communication(&mim.tr_lvl[1]);
	}
  if(huart == &huart5){ //RS_485 channel МФР2
		// printf("%s: uart 5 error %d\n", now(), (int)HAL_UART_GetError(huart));
    // mim_tr_it_rx_error_cb(&mim.tr_lvl[3]);
    // // mim_tr_ena_communication(&mim.tr_lvl[3]);
	}
}

void HAL_TIM_PeriodElapsedCallback(TIM_HandleTypeDef *htim)
{
	if (htim == &htim4) { //RS_485 channel МА1
		mim_tr_it_rx_timer_cb(&mim.tr_lvl[0]);
	}
	if (htim == &htim5) { //RS_485 channel МА2
		// mim_tr_it_rx_timer_cb(&mim.tr_lvl[2]);
	}
  if (htim == &htim3) { //RS_485 channel МФР1
		mim_tr_it_rx_timer_cb(&mim.tr_lvl[1]);
	}
  if (htim == &htim2) { //RS_485 channel МФР2
		// mim_tr_it_rx_timer_cb(&mim.tr_lvl[3]);
	}
  if (htim == &htim9) { // system_uart
		suart_timer_irq_handler(&suart);
	}
  if (htim == &htim7) { // task_planner
		tp_timer_handler(&tp);
	}
}

void HAL_GPIO_EXTI_Callback(uint16_t GPIO_Pin)
{
  printf("GPIO pin %d\n", (int)GPIO_Pin);
}

/* USER CODE END 4 */

void Error_Handler(void)
{
  __disable_irq();
  while (1)
  {
  }
}
